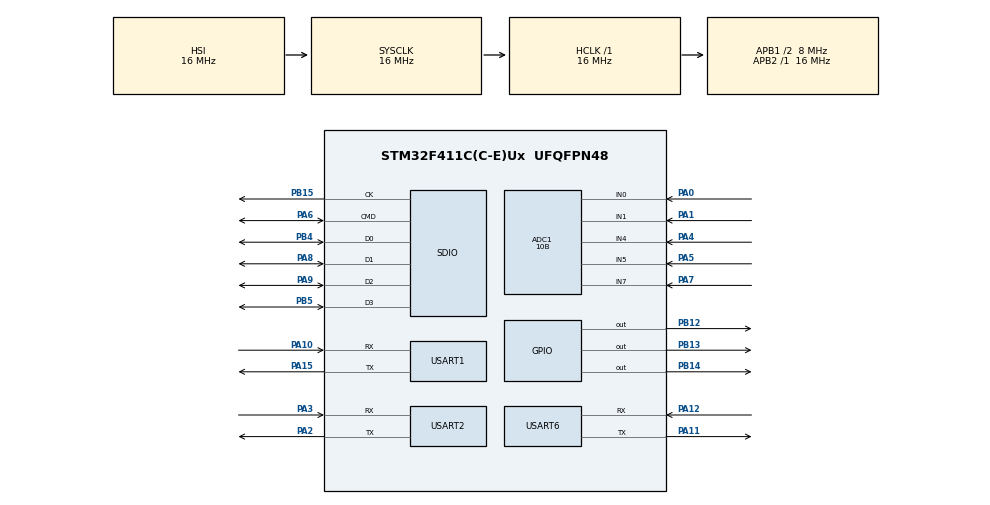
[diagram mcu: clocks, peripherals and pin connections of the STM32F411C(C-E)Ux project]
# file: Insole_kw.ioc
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ADC1.Channel-10\#ChannelRegularConversion=ADC_CHANNEL_1
ADC1.Channel-12\#ChannelRegularConversion=ADC_CHANNEL_4
ADC1.Channel-13\#ChannelRegularConversion=ADC_CHANNEL_5
ADC1.Channel-14\#ChannelRegularConversion=ADC_CHANNEL_7
ADC1.Channel-5\#ChannelRegularConversion=ADC_CHANNEL_0
ADC1.ContinuousConvMode=ENABLE
ADC1.DMAContinuousRequests=ENABLE
ADC1.InjNumberOfConversion=0
ADC1.NbrOfConversion=5
ADC1.NbrOfConversionFlag=1
ADC1.Rank-10\#ChannelRegularConversion=2
ADC1.Rank-12\#ChannelRegularConversion=3
ADC1.Rank-13\#ChannelRegularConversion=4
ADC1.Rank-14\#ChannelRegularConversion=5
ADC1.Rank-5\#ChannelRegularConversion=1
ADC1.Resolution=ADC_RESOLUTION_10B
ADC1.SamplingTime-10\#ChannelRegularConversion=ADC_SAMPLETIME_112CYCLES
ADC1.SamplingTime-12\#ChannelRegularConversion=ADC_SAMPLETIME_112CYCLES
ADC1.SamplingTime-13\#ChannelRegularConversion=ADC_SAMPLETIME_112CYCLES
ADC1.SamplingTime-14\#ChannelRegularConversion=ADC_SAMPLETIME_112CYCLES
ADC1.SamplingTime-5\#ChannelRegularConversion=ADC_SAMPLETIME_112CYCLES
ADC1.master=1
Dma.ADC1.0.Direction=DMA_PERIPH_TO_MEMORY
Dma.ADC1.0.FIFOMode=DMA_FIFOMODE_DISABLE
Dma.ADC1.0.Instance=DMA2_Stream0
Dma.ADC1.0.MemDataAlignment=DMA_MDATAALIGN_HALFWORD
Dma.ADC1.0.MemInc=DMA_MINC_ENABLE
Dma.ADC1.0.Mode=DMA_CIRCULAR
Dma.ADC1.0.PeriphDataAlignment=DMA_PDATAALIGN_HALFWORD
Dma.ADC1.0.PeriphInc=DMA_PINC_DISABLE
Dma.ADC1.0.Priority=DMA_PRIORITY_LOW
Dma.Request0=ADC1
Dma.Request1=SDIO_RX
Dma.Request2=SDIO_TX
Dma.Request3=USART1_RX
Dma.SDIO_RX.1.Direction=DMA_PERIPH_TO_MEMORY
Dma.SDIO_RX.1.FIFOMode=DMA_FIFOMODE_ENABLE
Dma.SDIO_RX.1.FIFOThreshold=DMA_FIFO_THRESHOLD_FULL
Dma.SDIO_RX.1.Instance=DMA2_Stream3
Dma.SDIO_RX.1.MemBurst=DMA_MBURST_INC4
Dma.SDIO_RX.1.MemDataAlignment=DMA_MDATAALIGN_WORD
Dma.SDIO_RX.1.MemInc=DMA_MINC_ENABLE
Dma.SDIO_RX.1.Mode=DMA_PFCTRL
Dma.SDIO_RX.1.PeriphBurst=DMA_PBURST_INC4
Dma.SDIO_RX.1.PeriphDataAlignment=DMA_PDATAALIGN_WORD
Dma.SDIO_RX.1.PeriphInc=DMA_PINC_DISABLE
Dma.SDIO_RX.1.Priority=DMA_PRIORITY_LOW
Dma.SDIO_TX.2.Direction=DMA_MEMORY_TO_PERIPH
Dma.SDIO_TX.2.FIFOMode=DMA_FIFOMODE_ENABLE
Dma.SDIO_TX.2.FIFOThreshold=DMA_FIFO_THRESHOLD_FULL
Dma.SDIO_TX.2.Instance=DMA2_Stream6
Dma.SDIO_TX.2.MemBurst=DMA_MBURST_INC4
Dma.SDIO_TX.2.MemDataAlignment=DMA_MDATAALIGN_WORD
Dma.SDIO_TX.2.MemInc=DMA_MINC_ENABLE
Dma.SDIO_TX.2.Mode=DMA_PFCTRL
Dma.SDIO_TX.2.PeriphBurst=DMA_PBURST_INC4
Dma.SDIO_TX.2.PeriphDataAlignment=DMA_PDATAALIGN_WORD
Dma.SDIO_TX.2.PeriphInc=DMA_PINC_DISABLE
Dma.SDIO_TX.2.Priority=DMA_PRIORITY_LOW
Dma.USART1_RX.3.Direction=DMA_PERIPH_TO_MEMORY
Dma.USART1_RX.3.FIFOMode=DMA_FIFOMODE_DISABLE
Dma.USART1_RX.3.Instance=DMA2_Stream2
Dma.USART1_RX.3.MemDataAlignment=DMA_MDATAALIGN_BYTE
Dma.USART1_RX.3.MemInc=DMA_MINC_ENABLE
Dma.USART1_RX.3.Mode=DMA_CIRCULAR
Dma.USART1_RX.3.PeriphDataAlignment=DMA_PDATAALIGN_BYTE
Dma.USART1_RX.3.PeriphInc=DMA_PINC_DISABLE
Dma.USART1_RX.3.Priority=DMA_PRIORITY_LOW
FATFS._MAX_SS=4096
FREERTOS.Tasks01=defaultTask,0,128,StartDefaultTask,Default,NULL
Mcu.Family=STM32F4
Mcu.Name=STM32F411C(C-E)Ux
Mcu.Package=UFQFPN48
NVIC.DMA2_Stream0_IRQn=true\:5\:0\:false\:false\:true\:true\:false\:true
NVIC.DMA2_Stream2_IRQn=true\:5\:0\:false\:false\:true\:true\:false\:true
NVIC.DMA2_Stream3_IRQn=true\:5\:0\:false\:false\:true\:true\:false\:true
NVIC.DMA2_Stream6_IRQn=true\:5\:0\:false\:false\:true\:true\:false\:true
NVIC.PriorityGroup=NVIC_PRIORITYGROUP_4
NVIC.SDIO_IRQn=true\:5\:0\:false\:false\:true\:true\:true\:true
NVIC.TIM4_IRQn=true\:5\:0\:false\:false\:true\:true\:true\:true
NVIC.TIM5_IRQn=true\:0\:0\:false\:false\:true\:false\:false\:true
NVIC.TimeBase=TIM5_IRQn
NVIC.TimeBaseIP=TIM5
PA0-WKUP.Signal=ADCx_IN0
PA1.Signal=ADCx_IN1
PA10.Mode=Asynchronous
PA10.Signal=USART1_RX
PA11.Mode=Asynchronous
PA11.Signal=USART6_TX
PA12.Mode=Asynchronous
PA12.Signal=USART6_RX
PA15.Mode=Asynchronous
PA15.Signal=USART1_TX
PA2.Mode=Asynchronous
PA2.Signal=USART2_TX
PA3.Mode=Asynchronous
PA3.Signal=USART2_RX
PA4.Signal=ADCx_IN4
PA5.Signal=ADCx_IN5
PA6.GPIO_PuPd=GPIO_PULLUP
PA6.Mode=SD_4_bits_Wide_bus
PA6.Signal=SDIO_CMD
PA7.Signal=ADCx_IN7
PA8.GPIO_PuPd=GPIO_PULLUP
PA8.Mode=SD_4_bits_Wide_bus
PA8.Signal=SDIO_D1
PA9.GPIO_PuPd=GPIO_PULLUP
PA9.Mode=SD_4_bits_Wide_bus
PA9.Signal=SDIO_D2
PB12.Signal=GPIO_Output
PB13.Signal=GPIO_Output
PB14.Signal=GPIO_Output
PB15.Mode=SD_4_bits_Wide_bus
PB15.Signal=SDIO_CK
PB4.GPIO_PuPd=GPIO_PULLUP
PB4.Mode=SD_4_bits_Wide_bus
PB4.Signal=SDIO_D0
PB5.GPIO_PuPd=GPIO_PULLUP
PB5.Mode=SD_4_bits_Wide_bus
PB5.Signal=SDIO_D3
ProjectManager.HeapSize=0x200
ProjectManager.StackSize=0x400
ProjectManager.TargetToolchain=MDK-ARM V5
RCC.48MHZClocksFreq_Value=40000000
RCC.AHBFreq_Value=16000000
RCC.APB1CLKDivider=RCC_HCLK_DIV2
RCC.APB1Freq_Value=8000000
RCC.APB1TimFreq_Value=16000000
RCC.APB2Freq_Value=16000000
RCC.APB2TimFreq_Value=16000000
RCC.CortexFreq_Value=16000000
RCC.HCLKFreq_Value=16000000
RCC.HSE_VALUE=8000000
RCC.HSI_VALUE=16000000
RCC.LSE_VALUE=32768
RCC.PLLM=8
RCC.PLLN=80
RCC.SYSCLKFreq_VALUE=16000000
RCC.VCOOutputFreq_Value=160000000
SDIO.ClockDiv=0
SH.ADCx_IN0.0=ADC1_IN0,IN0
SH.ADCx_IN1.0=ADC1_IN1,IN1
SH.ADCx_IN4.0=ADC1_IN4,IN4
SH.ADCx_IN5.0=ADC1_IN5,IN5
SH.ADCx_IN7.0=ADC1_IN7,IN7
TIM4.ClockDivision=TIM_CLOCKDIVISION_DIV1
TIM4.Period=10-1
TIM4.Prescaler=1600-1
TIM4.TIM_MasterOutputTrigger=TIM_TRGO_UPDATE
USART1.VirtualMode=VM_ASYNC
USART2.VirtualMode=VM_ASYNC
USART6.VirtualMode=VM_ASYNC
VP_FATFS_VS_SDIO.Mode=SDIO
VP_FREERTOS_VS_CMSIS_V1.Mode=CMSIS_V1
VP_SYS_VS_tim5.Mode=TIM5
VP_TIM4_VS_ClockSourceINT.Mode=Internal
board=custom

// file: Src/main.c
/* USER CODE BEGIN Header */
/**
  ******************************************************************************
  * @file           : main.c
  * @brief          : Main program body
  ******************************************************************************
  * @attention
  *
  * <h2><center>&copy; Copyright (c) 2019 STMicroelectronics.
  * All rights reserved.</center></h2>
  *
  * This software component is licensed by ST under BSD 3-Clause license,
  * the "License"; You may not use this file except in compliance with the
  * License. You may obtain a copy of the License at:
  *                        opensource.org/licenses/BSD-3-Clause
  *
  ******************************************************************************
  */
/* USER CODE END Header */

#include "main.h"
#include "cmsis_os.h"
#include "fatfs.h"

/* USER CODE BEGIN Includes */
#include <stdio.h>
#include <string.h>
#include <stdbool.h>

/* USER CODE END Includes */

ADC_HandleTypeDef hadc1;
DMA_HandleTypeDef hdma_adc1;

SD_HandleTypeDef hsd;
DMA_HandleTypeDef hdma_sdio_rx;
DMA_HandleTypeDef hdma_sdio_tx;

TIM_HandleTypeDef htim4;

UART_HandleTypeDef huart1;
UART_HandleTypeDef huart2;
UART_HandleTypeDef huart6;
DMA_HandleTypeDef hdma_usart1_rx;

osThreadId defaultTaskHandle;

void SystemClock_Config(void);
static void MX_GPIO_Init(void);
static void MX_DMA_Init(void);
static void MX_ADC1_Init(void);
static void MX_USART1_UART_Init(void);
static void MX_USART2_UART_Init(void);
static void MX_TIM4_Init(void);
static void MX_USART6_UART_Init(void);
static void MX_SDIO_SD_Init(void);
void StartDefaultTask(void const * argument);

/* USER CODE BEGIN 0 */

//SD card variables
	extern char SDPath[4];   /* SD logical drive path */
	extern FATFS SDFatFS;    /* File system object for SD logical drive */
	extern FIL SDFile;       /* File object for SD */

//FILE I/O operation

	FRESULT res;                                          /* FatFs function common result code */
	uint32_t byteswritten, bytesread;                     /* File write/read counts */
	uint8_t wtext[] = "Hello from kyeum!"; 			      /* File write start buffer */
	uint8_t rtext[100];                                   /* File read buffer */

	FATFS myFATAS;
	FIL myFILE;
	UINT testByte; 										  // error detection

	uint16_t adcValArray[5] = {0,};
	//IMU version
	uint8_t txdata[16]; // 52byte transfer + CRC
	uint8_t rxdata[52]; // 52byte transfer + CRC

	uint8_t rxBuf[1] = {0}; // 52byte transfer + CRC

	//Timer
	uint16_t ms_tmr = 0;
	uint16_t _10ms_tmr = 0;
	uint16_t ms_sv_tmr = 0;

	bool datasave_flg = true;
	bool dataend_flg = false;
	bool _100ms_flg = false;
	bool _10ms_flg = false;
	bool received_callback = true;
/* USER CODE END 0 */

int main(void)
{

  /* MCU Configuration--------------------------------------------------------*/

  /* Reset of all peripherals, Initializes the Flash interface and the Systick. */
  HAL_Init();

  /* Configure the system clock */
  SystemClock_Config();

  /* Initialize all configured peripherals */
  MX_GPIO_Init();
  MX_DMA_Init();
  MX_ADC1_Init();
  MX_USART1_UART_Init();
  MX_USART2_UART_Init();
  MX_TIM4_Init();
  MX_USART6_UART_Init();
  MX_SDIO_SD_Init();

  /* USER CODE BEGIN 2 */
  HAL_TIM_Base_Start_IT(&htim4);
  HAL_ADC_Start_DMA(&hadc1,(uint32_t *)adcValArray, 5);
  HAL_UART_Receive_DMA(&huart1, (uint8_t *)rxBuf, 1); //
  /* USER CODE END 2 */

  /* Create the thread(s) */
  /* definition and creation of defaultTask */
  osThreadDef(defaultTask, StartDefaultTask, osPriorityNormal, 0, 128);
  defaultTaskHandle = osThreadCreate(osThread(defaultTask), NULL);

  /* Start scheduler */
  osKernelStart();

  /* We should never get here as control is now taken by the scheduler */

  /* Infinite loop */
  while (1)
  {

  }
}

void SystemClock_Config(void)
{
  RCC_OscInitTypeDef RCC_OscInitStruct = {0};
  RCC_ClkInitTypeDef RCC_ClkInitStruct = {0};

  /** Configure the main internal regulator output voltage
  */
  __HAL_RCC_PWR_CLK_ENABLE();
  __HAL_PWR_VOLTAGESCALING_CONFIG(PWR_REGULATOR_VOLTAGE_SCALE1);
  /** Initializes the CPU, AHB and APB busses clocks
  */
  RCC_OscInitStruct.OscillatorType = RCC_OSCILLATORTYPE_HSI;
  RCC_OscInitStruct.HSIState = RCC_HSI_ON;
  RCC_OscInitStruct.HSICalibrationValue = RCC_HSICALIBRATION_DEFAULT;
  RCC_OscInitStruct.PLL.PLLState = RCC_PLL_ON;
  RCC_OscInitStruct.PLL.PLLSource = RCC_PLLSOURCE_HSI;
  RCC_OscInitStruct.PLL.PLLM = 8;
  RCC_OscInitStruct.PLL.PLLN = 80;
  RCC_OscInitStruct.PLL.PLLP = RCC_PLLP_DIV2;
  RCC_OscInitStruct.PLL.PLLQ = 4;
  if (HAL_RCC_OscConfig(&RCC_OscInitStruct) != HAL_OK)
  {
    Error_Handler();
  }
  /** Initializes the CPU, AHB and APB busses clocks
  */
  RCC_ClkInitStruct.ClockType = RCC_CLOCKTYPE_HCLK|RCC_CLOCKTYPE_SYSCLK
                              |RCC_CLOCKTYPE_PCLK1|RCC_CLOCKTYPE_PCLK2;
  RCC_ClkInitStruct.SYSCLKSource = RCC_SYSCLKSOURCE_HSI;
  RCC_ClkInitStruct.AHBCLKDivider = RCC_SYSCLK_DIV1;
  RCC_ClkInitStruct.APB1CLKDivider = RCC_HCLK_DIV2;
  RCC_ClkInitStruct.APB2CLKDivider = RCC_HCLK_DIV1;

  if (HAL_RCC_ClockConfig(&RCC_ClkInitStruct, FLASH_LATENCY_0) != HAL_OK)
  {
    Error_Handler();
  }
}

static void MX_ADC1_Init(void)
{

  ADC_ChannelConfTypeDef sConfig = {0};

  /** Configure the global features of the ADC (Clock, Resolution, Data Alignment and number of conversion)
  */
  hadc1.Instance = ADC1;
  hadc1.Init.ClockPrescaler = ADC_CLOCK_SYNC_PCLK_DIV2;
  hadc1.Init.Resolution = ADC_RESOLUTION_10B;
  hadc1.Init.ScanConvMode = ENABLE;
  hadc1.Init.ContinuousConvMode = ENABLE;
  hadc1.Init.DiscontinuousConvMode = DISABLE;
  hadc1.Init.ExternalTrigConvEdge = ADC_EXTERNALTRIGCONVEDGE_NONE;
  hadc1.Init.ExternalTrigConv = ADC_SOFTWARE_START;
  hadc1.Init.DataAlign = ADC_DATAALIGN_RIGHT;
  hadc1.Init.NbrOfConversion = 5;
  hadc1.Init.DMAContinuousRequests = ENABLE;
  hadc1.Init.EOCSelection = ADC_EOC_SINGLE_CONV;
  if (HAL_ADC_Init(&hadc1) != HAL_OK)
  {
    Error_Handler();
  }
  /** Configure for the selected ADC regular channel its corresponding rank in the sequencer and its sample time.
  */
  sConfig.Channel = ADC_CHANNEL_0;
  sConfig.Rank = 1;
  sConfig.SamplingTime = ADC_SAMPLETIME_112CYCLES;
  if (HAL_ADC_ConfigChannel(&hadc1, &sConfig) != HAL_OK)
  {
    Error_Handler();
  }
  /** Configure for the selected ADC regular channel its corresponding rank in the sequencer and its sample time.
  */
  sConfig.Channel = ADC_CHANNEL_1;
  sConfig.Rank = 2;
  if (HAL_ADC_ConfigChannel(&hadc1, &sConfig) != HAL_OK)
  {
    Error_Handler();
  }
  /** Configure for the selected ADC regular channel its corresponding rank in the sequencer and its sample time.
  */
  sConfig.Channel = ADC_CHANNEL_4;
  sConfig.Rank = 3;
  if (HAL_ADC_ConfigChannel(&hadc1, &sConfig) != HAL_OK)
  {
    Error_Handler();
  }
  /** Configure for the selected ADC regular channel its corresponding rank in the sequencer and its sample time.
  */
  sConfig.Channel = ADC_CHANNEL_5;
  sConfig.Rank = 4;
  if (HAL_ADC_ConfigChannel(&hadc1, &sConfig) != HAL_OK)
  {
    Error_Handler();
  }
  /** Configure for the selected ADC regular channel its corresponding rank in the sequencer and its sample time.
  */
  sConfig.Channel = ADC_CHANNEL_7;
  sConfig.Rank = 5;
  if (HAL_ADC_ConfigChannel(&hadc1, &sConfig) != HAL_OK)
  {
    Error_Handler();
  }

}

static void MX_SDIO_SD_Init(void)
{

  hsd.Instance = SDIO;
  hsd.Init.ClockEdge = SDIO_CLOCK_EDGE_RISING;
  hsd.Init.ClockBypass = SDIO_CLOCK_BYPASS_DISABLE;
  hsd.Init.ClockPowerSave = SDIO_CLOCK_POWER_SAVE_DISABLE;
  hsd.Init.BusWide = SDIO_BUS_WIDE_1B;
  hsd.Init.HardwareFlowControl = SDIO_HARDWARE_FLOW_CONTROL_DISABLE;
  hsd.Init.ClockDiv = 0;

}

static void MX_TIM4_Init(void)
{

  TIM_ClockConfigTypeDef sClockSourceConfig = {0};
  TIM_MasterConfigTypeDef sMasterConfig = {0};

  htim4.Instance = TIM4;
  htim4.Init.Prescaler = 1600-1;
  htim4.Init.CounterMode = TIM_COUNTERMODE_UP;
  htim4.Init.Period = 10-1;
  htim4.Init.ClockDivision = TIM_CLOCKDIVISION_DIV1;
  htim4.Init.AutoReloadPreload = TIM_AUTORELOAD_PRELOAD_DISABLE;
  if (HAL_TIM_Base_Init(&htim4) != HAL_OK)
  {
    Error_Handler();
  }
  sClockSourceConfig.ClockSource = TIM_CLOCKSOURCE_INTERNAL;
  if (HAL_TIM_ConfigClockSource(&htim4, &sClockSourceConfig) != HAL_OK)
  {
    Error_Handler();
  }
  sMasterConfig.MasterOutputTrigger = TIM_TRGO_UPDATE;
  sMasterConfig.MasterSlaveMode = TIM_MASTERSLAVEMODE_DISABLE;
  if (HAL_TIMEx_MasterConfigSynchronization(&htim4, &sMasterConfig) != HAL_OK)
  {
    Error_Handler();
  }

}

static void MX_USART1_UART_Init(void)
{

  huart1.Instance = USART1;
  huart1.Init.BaudRate = 115200;
  huart1.Init.WordLength = UART_WORDLENGTH_8B;
  huart1.Init.StopBits = UART_STOPBITS_1;
  huart1.Init.Parity = UART_PARITY_NONE;
  huart1.Init.Mode = UART_MODE_TX_RX;
  huart1.Init.HwFlowCtl = UART_HWCONTROL_NONE;
  huart1.Init.OverSampling = UART_OVERSAMPLING_16;
  if (HAL_UART_Init(&huart1) != HAL_OK)
  {
    Error_Handler();
  }

}

static void MX_USART2_UART_Init(void)
{

  huart2.Instance = USART2;
  huart2.Init.BaudRate = 115200;
  huart2.Init.WordLength = UART_WORDLENGTH_8B;
  huart2.Init.StopBits = UART_STOPBITS_1;
  huart2.Init.Parity = UART_PARITY_NONE;
  huart2.Init.Mode = UART_MODE_TX_RX;
  huart2.Init.HwFlowCtl = UART_HWCONTROL_NONE;
  huart2.Init.OverSampling = UART_OVERSAMPLING_16;
  if (HAL_UART_Init(&huart2) != HAL_OK)
  {
    Error_Handler();
  }

}

static void MX_USART6_UART_Init(void)
{

  huart6.Instance = USART6;
  huart6.Init.BaudRate = 115200;
  huart6.Init.WordLength = UART_WORDLENGTH_8B;
  huart6.Init.StopBits = UART_STOPBITS_1;
  huart6.Init.Parity = UART_PARITY_NONE;
  huart6.Init.Mode = UART_MODE_TX_RX;
  huart6.Init.HwFlowCtl = UART_HWCONTROL_NONE;
  huart6.Init.OverSampling = UART_OVERSAMPLING_16;
  if (HAL_UART_Init(&huart6) != HAL_OK)
  {
    Error_Handler();
  }

}

static void MX_DMA_Init(void)
{

  /* DMA controller clock enable */
  __HAL_RCC_DMA2_CLK_ENABLE();

  /* DMA interrupt init */
  /* DMA2_Stream0_IRQn interrupt configuration */
  HAL_NVIC_SetPriority(DMA2_Stream0_IRQn, 5, 0);
  HAL_NVIC_EnableIRQ(DMA2_Stream0_IRQn);
  /* DMA2_Stream2_IRQn interrupt configuration */
  HAL_NVIC_SetPriority(DMA2_Stream2_IRQn, 5, 0);
  HAL_NVIC_EnableIRQ(DMA2_Stream2_IRQn);
  /* DMA2_Stream3_IRQn interrupt configuration */
  HAL_NVIC_SetPriority(DMA2_Stream3_IRQn, 5, 0);
  HAL_NVIC_EnableIRQ(DMA2_Stream3_IRQn);
  /* DMA2_Stream6_IRQn interrupt configuration */
  HAL_NVIC_SetPriority(DMA2_Stream6_IRQn, 5, 0);
  HAL_NVIC_EnableIRQ(DMA2_Stream6_IRQn);

}

static void MX_GPIO_Init(void)
{
  GPIO_InitTypeDef GPIO_InitStruct = {0};

  /* GPIO Ports Clock Enable */
  __HAL_RCC_GPIOA_CLK_ENABLE();
  __HAL_RCC_GPIOB_CLK_ENABLE();

  /*Configure GPIO pin Output Level */
  HAL_GPIO_WritePin(GPIOB, GPIO_PIN_12|GPIO_PIN_13|GPIO_PIN_14, GPIO_PIN_RESET);

  /*Configure GPIO pins : PB12 PB13 PB14 */
  GPIO_InitStruct.Pin = GPIO_PIN_12|GPIO_PIN_13|GPIO_PIN_14;
  GPIO_InitStruct.Mode = GPIO_MODE_OUTPUT_PP;
  GPIO_InitStruct.Pull = GPIO_NOPULL;
  GPIO_InitStruct.Speed = GPIO_SPEED_FREQ_LOW;
  HAL_GPIO_Init(GPIOB, &GPIO_InitStruct);

}

/* USER CODE BEGIN 4 */

void HAL_UART_RxCpltCallback(UART_HandleTypeDef *huart)
{
  /* Prevent unused argument(s) compilation warning */
  //UNUSED(huart);
  /* NOTE: This function should not be modified, when the callback is needed,
           the HAL_UART_RxCpltCallback could be implemented in the user file
   */
	if(huart->Instance == USART1)
	{
			// receive buffer ';'
			if(rxBuf[0] == ';'){
				HAL_GPIO_TogglePin(GPIOB,GPIO_PIN_13);
				received_callback = true;
				rxBuf[0] = 0;
			}
	}
}

/* USER CODE END 4 */

void StartDefaultTask(void const * argument)
{
  /* init code for FATFS */
	MX_FATFS_Init();

  /* USER CODE BEGIN 5 */
	f_mount(&SDFatFS, (TCHAR const*)SDPath, 1); // setup local SD memory path
	char testname[20];

	char filetxt[5] = ".txt"; // directory
	f_mkdir(testname);
	//strcat(testnum,filetxt);

	if(f_open(&SDFile, "test.txt", FA_CREATE_ALWAYS | FA_WRITE )== FR_OK){
		HAL_GPIO_TogglePin(GPIOB,GPIO_PIN_13);
		osDelay(500);
		HAL_GPIO_TogglePin(GPIOB,GPIO_PIN_13);

	}
	else{
		HAL_GPIO_TogglePin(GPIOB,GPIO_PIN_15);
		osDelay(500);
		HAL_GPIO_TogglePin(GPIOB,GPIO_PIN_15);

		}	// data : date/year/time // if exist build new f_open

  /* Infinite loop */
  for(;;)
  {
		txdata[0] = 0xFF;
		txdata[1] = 0xFF;
		//time
	//	txdata[2] = ms_sv_tmr >> 8; // high	//65536 size
	//	txdata[3] = ms_sv_tmr & 0xFF; // low
		for(int i =0; i<5; i++){
		char a = i*2;
		txdata[2+a] = adcValArray[i] >> 8;  //hi
		txdata[3+a] = adcValArray[i] & 0xFF;//lo
		}
		txdata[12] = 0xFF;
		txdata[13] = 0xFE;

		//if(received_callback){
		HAL_GPIO_TogglePin(GPIOB,GPIO_PIN_13);

		HAL_UART_Transmit(&huart1,txdata,14,2);
		//received_callback = false;
		//}

			if(datasave_flg){
			for(int i =0; i<16; i++) {
			f_printf(&SDFile, "%02x", txdata[i]);
			}
			f_printf(&SDFile, "\n");
			}
		}
		//From pc -> get data end flag : blinking 5 times for saving clear data
		if(dataend_flg) {
			f_close(&SDFile);
			dataend_flg = false;
			HAL_GPIO_TogglePin(GPIOB,GPIO_PIN_14);
			}
  /* USER CODE END 5 */
}

void HAL_TIM_PeriodElapsedCallback(TIM_HandleTypeDef *htim)
{
  if (htim->Instance == TIM5) {
    HAL_IncTick();
  }
  /* USER CODE BEGIN Callback 1 */
  	if(htim ->Instance  == TIM4){
		ms_tmr ++;
		_10ms_tmr++;

		if(ms_tmr % 10 == 0){
			//_100ms_flg = true;
			_10ms_flg = true;
			ms_sv_tmr++;
			ms_tmr = 0;
		}
		if(_10ms_tmr % 100 == 0){
			_10ms_tmr = 0;
			HAL_GPIO_TogglePin(GPIOB,GPIO_PIN_12); // 200ms Orange BLINKING
		}

		if(ms_sv_tmr % 3000 == 0){ // 10sec later - date
			dataend_flg = true;
			ms_sv_tmr = 0;
		}

	// save data 10sec
	}
  /* USER CODE END Callback 1 */
}

void Error_Handler(void)
{
}

/************************ (C) COPYRIGHT STMicroelectronics *****END OF FILE****/
